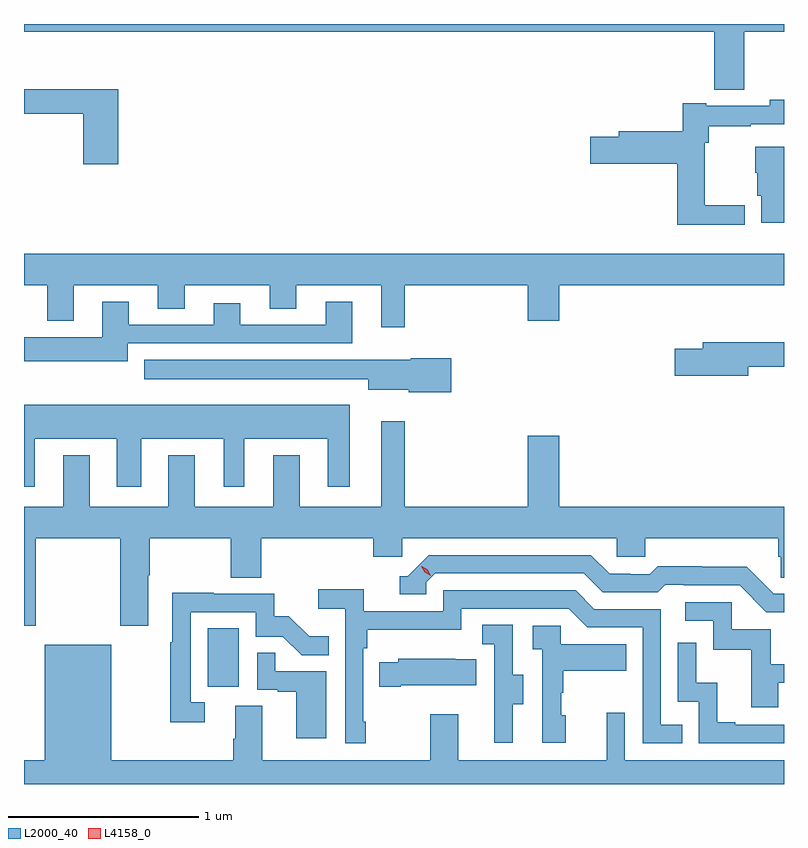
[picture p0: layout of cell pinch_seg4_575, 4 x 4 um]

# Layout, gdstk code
import gdstk
lib = gdstk.Library(unit=1e-6, precision=1e-09)
def R(c, l, rs):  # rectangles x0, y0, x1, y1
    for r in rs: c.add(gdstk.rectangle(r[:2], r[2:], *l))
def P(c, l, *ps):  # polygons
    for p in ps: c.add(gdstk.Polygon(p, *l))
L2000_40 = (2000, 40)
L4158_0 = (4158, 0)

pinch_seg4_575 = lib.new_cell('pinch_seg4_575')
R(pinch_seg4_575, L2000_40, [(1026.458,788.046,1026.622,788.353)])
P(pinch_seg4_575, L2000_40, [(1029.284,791.492),(1029.492,791.492),(1029.492,791.534),(1025.492,791.534),(1025.492,791.492),(1029.125,791.492),(1029.125,791.188),(1029.284,791.188)],
  [(1025.987,791.191),(1025.492,791.191),(1025.492,791.062),(1025.804,791.062),(1025.804,790.797),(1025.987,790.797)],
  [(1029.286,790.58),(1029.076,790.58),(1029.076,790.91),(1029.095,790.91),(1029.095,790.995),(1029.317,790.995),(1029.317,791.007),(1029.492,791.007),(1029.492,791.136),(1029.417,791.136),(1029.417,791.103),(1029.082,791.103),(1029.082,791.116),(1028.959,791.116),(1028.959,790.97),(1028.621,790.97),(1028.621,790.94),(1028.472,790.94),(1028.472,790.798),(1028.93,790.798),(1028.93,790.478),(1029.286,790.478)],
  [(1029.492,790.888),(1029.341,790.888),(1029.341,790.752),(1029.35,790.752),(1029.35,790.629),(1029.371,790.629),(1029.371,790.488),(1029.492,790.488)],
  [(1027.495,790.16),(1028.144,790.16),(1028.144,789.972),(1028.308,789.972),(1028.308,790.16),(1029.492,790.16),(1029.492,790.324),(1025.492,790.324),(1025.492,790.16),(1025.615,790.16),(1025.615,789.971),(1025.755,789.971),(1025.755,790.16),(1026.197,790.16),(1026.197,790.036),(1026.337,790.036),(1026.337,790.16),(1026.785,790.16),(1026.785,790.036),(1026.925,790.036),(1026.925,790.16),(1027.373,790.16),(1027.373,789.939),(1027.495,789.939)],
  [(1026.037,789.855),(1027.219,789.855),(1027.219,790.072),(1027.079,790.072),(1027.079,789.951),(1026.631,789.951),(1026.631,790.063),(1026.491,790.063),(1026.491,789.951),(1026.043,789.951),(1026.043,790.072),(1025.903,790.072),(1025.903,789.886),(1025.492,789.886),(1025.492,789.758),(1026.037,789.758)],
  [(1029.304,789.73),(1029.492,789.73),(1029.492,789.859),(1029.065,789.859),(1029.065,789.825),(1028.916,789.825),(1028.916,789.683),(1029.304,789.683)],
  [(1027.741,789.774),(1027.528,789.774),(1027.528,789.766),(1026.126,789.766),(1026.126,789.665),(1027.304,789.665),(1027.304,789.608),(1027.518,789.608),(1027.518,789.596),(1027.741,789.596)],
  [(1025.548,789.35),(1025.981,789.35),(1025.981,789.099),(1026.109,789.099),(1026.109,789.35),(1026.542,789.35),(1026.542,789.099),(1026.652,789.099),(1026.652,789.35),(1027.091,789.35),(1027.091,789.099),(1027.207,789.099),(1027.207,789.529),(1025.492,789.529),(1025.492,789.099),(1025.548,789.099)],
  [(1025.553,788.828),(1025.998,788.828),(1025.998,788.367),(1026.145,788.367),(1026.145,788.632),(1026.153,788.632),(1026.153,788.828),(1026.58,788.828),(1026.58,788.62),(1026.74,788.62),(1026.74,788.828),(1027.331,788.828),(1027.331,788.73),(1027.482,788.73),(1027.482,788.828),(1028.613,788.828),(1028.613,788.73),(1028.763,788.73),(1028.763,788.828),(1029.461,788.828),(1029.461,788.73),(1029.475,788.73),(1029.475,788.62),(1029.492,788.62),(1029.492,788.992),(1028.308,788.992),(1028.308,789.367),(1028.144,789.367),(1028.144,788.992),(1027.495,788.992),(1027.495,789.442),(1027.373,789.442),(1027.373,788.992),(1026.943,788.992),(1026.943,789.265),(1026.803,789.265),(1026.803,788.992),(1026.391,788.992),(1026.391,789.265),(1026.251,789.265),(1026.251,788.992),(1025.839,788.992),(1025.839,789.265),(1025.699,789.265),(1025.699,788.992),(1025.492,788.992),(1025.492,788.367),(1025.553,788.367)],
  [(1029.492,788.535),(1029.438,788.535),(1029.296,788.677),(1029.06,788.677),(1029.06,788.68),(1028.827,788.68),(1028.785,788.637),(1028.682,788.637),(1028.682,788.64),(1028.575,788.64),(1028.476,788.739),(1027.623,788.739),(1027.512,788.628),(1027.469,788.628),(1027.469,788.532),(1027.608,788.532),(1027.608,788.595),(1027.656,788.643),(1028.439,788.643),(1028.538,788.544),(1028.827,788.544),(1028.866,788.583),(1028.965,788.583),(1028.965,788.58),(1029.258,788.58),(1029.399,788.439),(1029.492,788.439)],
  [(1027.291,787.861),(1027.278,787.861),(1027.278,788.249),(1027.298,788.249),(1027.298,788.345),(1027.794,788.345),(1027.794,788.457),(1028.358,788.457),(1028.457,788.358),(1028.748,788.358),(1028.748,787.749),(1028.957,787.749),(1028.957,787.845),(1028.844,787.845),(1028.844,788.454),(1028.494,788.454),(1028.395,788.553),(1027.698,788.553),(1027.698,788.442),(1027.28,788.442),(1027.28,788.558),(1027.041,788.558),(1027.041,788.456),(1027.182,788.456),(1027.182,787.749),(1027.291,787.749)],
  [(1026.442,787.965),(1026.369,787.965),(1026.369,788.439),(1026.711,788.439),(1026.711,788.31),(1026.855,788.31),(1026.953,788.212),(1027.097,788.212),(1027.097,788.311),(1026.993,788.311),(1026.886,788.418),(1026.81,788.418),(1026.81,788.535),(1026.491,788.535),(1026.491,788.54),(1026.273,788.54),(1026.273,788.279),(1026.261,788.279),(1026.261,787.86),(1026.442,787.86)],
  [(1029.463,788.067),(1029.492,788.067),(1029.492,788.163),(1029.421,788.163),(1029.421,788.349),(1029.216,788.349),(1029.216,788.49),(1028.973,788.49),(1028.973,788.394),(1029.12,788.394),(1029.12,788.241),(1029.319,788.241),(1029.319,787.938),(1029.463,787.938)],
  [(1028.065,787.954),(1028.119,787.954),(1028.119,788.109),(1028.064,788.109),(1028.064,788.372),(1027.905,788.372),(1027.905,788.269),(1027.968,788.269),(1027.968,787.965),(1027.967,787.965),(1027.967,787.752),(1028.065,787.752)],
  [(1028.344,787.896),(1028.319,787.896),(1028.319,788.015),(1028.329,788.015),(1028.329,788.129),(1028.663,788.129),(1028.663,788.269),(1028.316,788.269),(1028.316,788.367),(1028.169,788.367),(1028.169,788.243),(1028.22,788.243),(1028.22,787.752),(1028.344,787.752)],
  [(1029.492,787.845),(1029.235,787.845),(1029.235,787.858),(1029.14,787.858),(1029.14,788.066),(1029.03,788.066),(1029.03,788.278),(1028.934,788.278),(1028.934,787.968),(1029.042,787.968),(1029.042,787.749),(1029.492,787.749)],
  [(1029.492,787.66),(1028.655,787.66),(1028.655,787.909),(1028.558,787.909),(1028.558,787.66),(1027.777,787.66),(1027.777,787.9),(1027.63,787.9),(1027.63,787.66),(1026.745,787.66),(1026.745,787.946),(1026.605,787.946),(1026.605,787.772),(1026.593,787.772),(1026.593,787.66),(1025.95,787.66),(1025.95,788.266),(1025.6,788.266),(1025.6,787.66),(1025.492,787.66),(1025.492,787.534),(1029.492,787.534)],
  [(1027.084,788.127),(1026.815,788.127),(1026.815,788.225),(1026.72,788.225),(1026.72,788.031),(1026.827,788.031),(1026.827,788.019),(1026.926,788.019),(1026.926,787.776),(1027.084,787.776)],
  [(1027.474,788.054),(1027.871,788.054),(1027.871,788.191),(1027.763,788.191),(1027.763,788.194),(1027.461,788.194),(1027.461,788.176),(1027.363,788.176),(1027.363,788.047),(1027.474,788.047)])
P(pinch_seg4_575, L4158_0, [(1027.632,788.629),(1027.601,788.648),(1027.584,788.68),(1027.584,788.68),(1027.585,788.68),(1027.616,788.662),(1027.632,788.63),(1027.632,788.629)])

lib.write_gds('pinch_seg4_575.gds')
